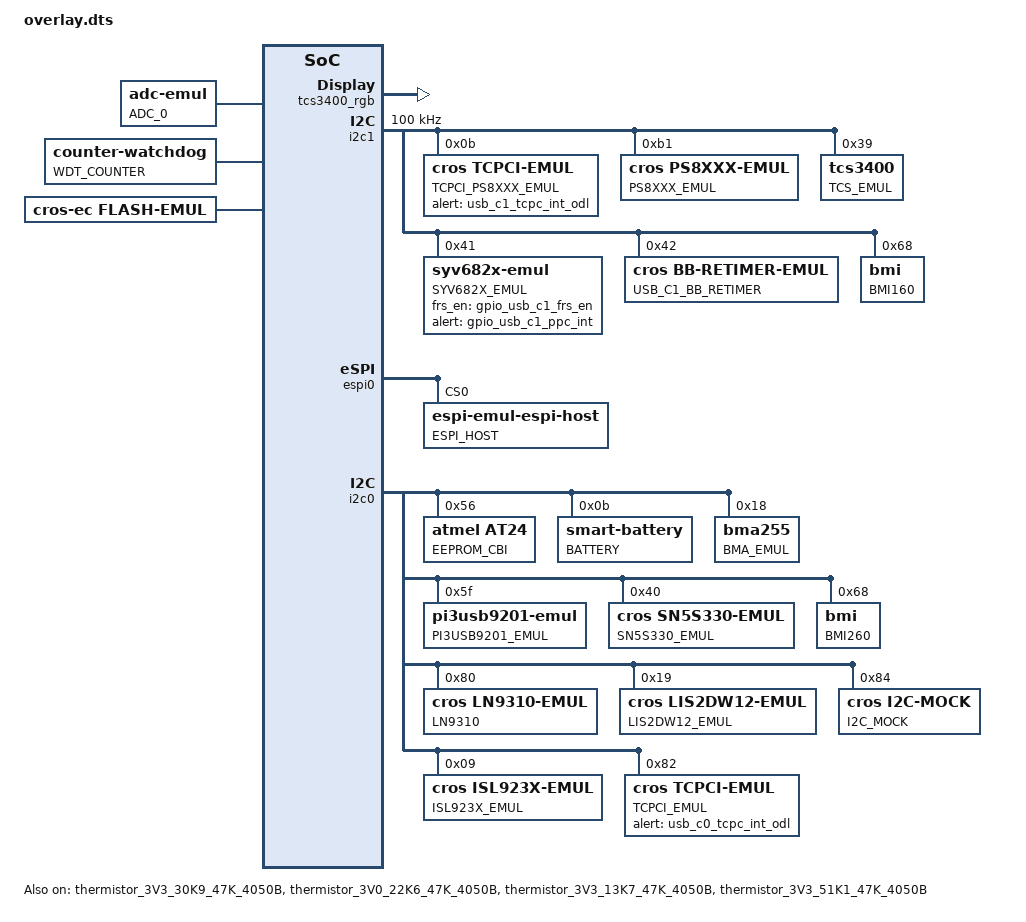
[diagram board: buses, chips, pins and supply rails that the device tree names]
/* Copyright 2021 The Chromium OS Authors. All rights reserved.
 * Use of this source code is governed by a BSD-style license that can be
 * found in the LICENSE file.
 */

#include <cros/binman.dtsi>
#include <cros/thermistor/thermistor.dtsi>
#include <dt-bindings/gpio_defines.h>
#include <freq.h>

/ {
	chosen {
		cros-ec,espi = &espi0;
		cros-ec,watchdog = &wdt_counter;
		cros-ec,raw-kb = &cros_kb_raw;
		cros-ec,flash-controller = &cros_flash;
	};

	aliases {
		bmi260-int = &ms_bmi260_accel;
		bmi160-int = &ms_bmi160_accel;
		lis2dw12-int = &ms_lis2dw12_accel;
		tcs3400-int = &tcs3400_clear;
		gpio-wp = &gpio_wp_l;
		gpio-kbd-kso2 = &gpio_ec_kso_02_inv;
	};
	/*
	 * Keep these GPIOs in pin order.
	 * If you need to add one, make sure you increase
	 * ngpios in the gpio0 node further down.
	 */
	named-gpios {
		compatible = "named-gpios";

		gpio_acok_od: acok_od {
			gpios = <&gpio0 2 GPIO_INPUT>;
			enum-name = "GPIO_AC_PRESENT";
		};
		/* In test WP is output because CBI use it, but it is also
		 * input, because test_all_tags set it to enable write
		 * protection.
		 */
		gpio_wp_l: wp_l {
			gpios = <&gpio0 3 (GPIO_INPUT | GPIO_OUTPUT |
					   GPIO_ACTIVE_LOW)>;
		};
		gpio_ec_kso_02_inv: ec_kso_02_inv {
			gpios = <&gpio0 4 (GPIO_INPUT | GPIO_OUTPUT_LOW)>;
		};
		pg_ec_dsw_pwrok {
			gpios = <&gpio0 4 GPIO_INPUT>;
			enum-name = "GPIO_TEMP_SENSOR_POWER";
		};
		gpio_ec_pch_wake_odl: ec_pch_wake_odl {
			gpios = <&gpio0 5 GPIO_OUTPUT_HIGH>;
		};
		/* Setup USB C1 pin as output to check their state in test */
		usb_c1_ls_en: usb_c1_ls_en {
			gpios = <&gpio0 6 (GPIO_INPUT_PULL_UP |
					   GPIO_OUTPUT)>;
		};
		usb_c1_rt_rst_odl: usb_c1_rt_rst_odl {
			gpios = <&gpio0 7 (GPIO_OUTPUT | GPIO_INPUT)>;
		};
		gpio_usb_c1_frs_en: usb_c1_frs_en {
			gpios = <&gpio0 8 (GPIO_OUTPUT_LOW)>;
		};
		usb_c0_tcpc_int_odl: usb_c0_tcpc_int_odl {
			gpios = <&gpio0 9 GPIO_INPUT>;
		};
		usb_c1_tcpc_int_odl: usb_c1_tcpc_int_odl {
			gpios = <&gpio0 10 GPIO_INPUT>;
		};
		usb_c0_tcpc_rst_l: usb_c0_tcpc_rst_l {
			gpios = <&gpio0 11 (GPIO_OUTPUT_HIGH | GPIO_INPUT)>;
		};
		usb_c1_tcpc_rst_l: usb_c1_tcpc_rst_l {
			gpios = <&gpio0 12 (GPIO_OUTPUT_HIGH | GPIO_INPUT)>;
		};
		gpio_usb_c1_ppc_int: usb_c1_ppc_int {
			gpios = <&gpio0 13 GPIO_INPUT>;
		};
		gpio_usb_c0_ppc_int: usb_c0_ppc_int {
			gpios = <&gpio0 14 GPIO_INPUT>;
		};
		gpio_switchcap_pg_int_l: switchcap_pg_int_l {
			gpios = <&gpio0 15 (GPIO_OUTPUT | GPIO_INPUT)>;
		};
		gpio_ap_rst_l: ap_rst_l {
			gpios = <&gpio0 16 GPIO_INPUT>;
			enum-name = "GPIO_AP_RST_L";
		};
		gpio_ps_hold: ps_hold {
			gpios = <&gpio0 17 (GPIO_INPUT | GPIO_PULL_DOWN)>;
			enum-name = "GPIO_PS_HOLD";
		};
		gpio_mb_power_good: mb_power_good {
			gpios = <&gpio0 18 (GPIO_OUTPUT | GPIO_INPUT |
				GPIO_PULL_DOWN)>;
			enum-name = "GPIO_POWER_GOOD";
		};
		gpio_ap_suspend: ap_suspend {
			gpios = <&gpio0 19 GPIO_INPUT>;
			enum-name = "GPIO_AP_SUSPEND";
		};
		gpio_pmic_kpd_pwr_odl: pmic_kpd_pwr_odl {
			gpios = <&gpio0 20 GPIO_ODR_HIGH>;
			enum-name = "GPIO_PMIC_KPD_PWR_ODL";
		};
		gpio_pmic_resin_l: pmic_resin_l {
			gpios = <&gpio0 21 GPIO_ODR_HIGH>;
			enum-name = "GPIO_PMIC_RESIN_L";
		};
		gpio_warm_reset_l: warm_reset_l {
			gpios = <&gpio0 22 GPIO_INPUT>;
			enum-name = "GPIO_WARM_RESET_L";
		};
		gpio_lid_open_ec: lid_open_ec {
			/* GPIO_PULL_UP will cause this start asserted. */
			gpios = <&gpio0 23 (GPIO_INPUT | GPIO_PULL_UP)>;
			enum-name = "GPIO_LID_OPEN";
		};
		gpio_switchcap_on: switchcap_on {
			gpios = <&gpio0 24 (GPIO_INPUT | GPIO_OUTPUT_LOW)>;
		};
		gpio_ec_pwr_btn_odl: ec_pwr_btn_odl {
			/* GPIO_PULL_UP will cause this start asserted,
			 * i.e. not pressed.
			 */
			gpios = <&gpio0 25 (GPIO_INPUT | GPIO_PULL_UP)>;
			enum-name = "GPIO_POWER_BUTTON_L";
		};
		gpio_src_vph_pwr_pg: src_vph_pwr_pg {
			gpios = <&gpio0 26 (GPIO_INPUT | GPIO_OUTPUT |
				GPIO_PULL_DOWN)>;
		};
		gpio_test: test {
			gpios = <&gpio0 27 (GPIO_INPUT | GPIO_OUTPUT)>;
		};
		ec_batt_pres_odl {
			gpios = <&gpio0 28 GPIO_INPUT>;
			enum-name = "GPIO_BATT_PRES_ODL";
		};
		gpio_no_init: no_init {
			gpios = <&gpio0 29 (GPIO_ACTIVE_LOW | GPIO_INPUT)>;
			no-auto-init;
		};
	};

	gpio-interrupts {
		compatible = "cros-ec,gpio-interrupts";

		int_ac_present: ac_present {
			irq-pin = <&gpio_acok_od>;
			flags = <GPIO_INT_EDGE_BOTH>;
			handler = "extpower_interrupt";
		};
		int_usb_c0: usb_c0 {
			irq-pin = <&usb_c0_tcpc_int_odl>;
			flags = <GPIO_INT_EDGE_FALLING>;
			handler = "tcpc_alert_event";
		};
		int_usb_c1: usb_c1 {
			irq-pin = <&usb_c1_tcpc_int_odl>;
			flags = <GPIO_INT_EDGE_FALLING>;
			handler = "tcpc_alert_event";
		};
		int_usb_c0_ppc: usb_c0_ppc {
			irq-pin = <&gpio_usb_c0_ppc_int>;
			flags = <GPIO_INT_EDGE_FALLING>;
			handler = "ppc_alert";
		};
		int_usb_c1_ppc: usb_c1_ppc {
			irq-pin = <&gpio_usb_c1_ppc_int>;
			flags = <GPIO_INT_EDGE_FALLING>;
			handler = "ppc_alert";
		};
		int_switchcap_pg: switchcap_pg {
			irq-pin = <&gpio_switchcap_pg_int_l>;
			flags = <GPIO_INT_EDGE_FALLING>;
			handler = "ln9310_interrupt";
		};
		int_gpio_test: test {
			irq-pin = <&gpio_test>;
			flags = <GPIO_INT_EDGE_BOTH>;
			handler = "gpio_test_interrupt";
		};
		int_lid_open_ec: lid_open_ec {
			irq-pin = <&gpio_lid_open_ec>;
			flags = <GPIO_INT_EDGE_BOTH>;
			handler = "lid_interrupt";
		};
		int_mb_power_good: mb_power_good {
			irq-pin = <&gpio_mb_power_good>;
			flags = <GPIO_INT_EDGE_BOTH>;
			handler = "power_signal_interrupt";
		};
	};

	named-i2c-ports {
		compatible = "named-i2c-ports";

		usb-c0 {
			i2c-port = <&i2c0>;
			enum-name = "I2C_PORT_USB_C0";
		};
		usb-c1 {
			i2c-port = <&i2c1>;
			enum-name = "I2C_PORT_USB_C1";
		};
		battery {
			i2c-port = <&i2c0>;
			enum-name = "I2C_PORT_BATTERY";
		};
		power {
			i2c-port = <&i2c0>;
			enum-name = "I2C_PORT_POWER";
		};
		charger {
			i2c-port = <&i2c0>;
			enum-name = "I2C_PORT_CHARGER";
		};
		eeprom {
			i2c-port = <&i2c0>;
			enum-name = "I2C_PORT_EEPROM";
		};
		i2c_accel: accel {
			i2c-port = <&i2c0>;
			enum-name = "I2C_PORT_ACCEL";
		};
		i2c_sensor: sensor {
			i2c-port = <&i2c1>;
			enum-name = "I2C_PORT_SENSOR";
		};
		virtual-battery {
			i2c-port = <&i2c0>;
			enum-name = "I2C_PORT_VIRTUAL_BATTERY";
		};
	};

	named-batteries {
		compatible = "named-batteries";

		lgc011 {
			enum-name = "lgc011";
		};
	};

	cbi-ssfc {
		compatible = "named-cbi-ssfc";
		cbi_ssfc_base_sensor: base_sensor {
			enum-name = "BASE_SENSOR";
			size = <2>;
			base_sensor_0: base0 {
				compatible = "named-cbi-ssfc-value";
				status = "okay";
				value = <1>;
				default;
			};
			base_sensor_1: base1 {
				compatible = "named-cbi-ssfc-value";
				status = "okay";
				value = <2>;
			};
		};
	};

	cbi-fw-config {
		compatible = "cros-ec,cbi-fw-config";
		field-1 {
			enum-name = "FW_CONFIG_FIELD_1";
			start = <0>;
			size = <2>;
			val-0 {
				compatible = "cros-ec,cbi-fw-config-value";
				enum-name = "FW_FIELD_1_A";
				value = <0>;
			};
			val-1 {
				compatible = "cros-ec,cbi-fw-config-value";
				enum-name = "FW_FIELD_1_B";
				value = <1>;
				default;
			};
		};
		field-2 {
			enum-name = "FW_CONFIG_FIELD_2";
			start = <5>;
			size = <1>;
			val-1 {
				compatible = "cros-ec,cbi-fw-config-value";
				enum-name = "FW_FIELD_2_X";
				value = <1>;
			};
		};
	};

	adc0: adc {
		compatible = "zephyr,adc-emul";
		nchannels = <4>;
		ref-internal-mv = <3300>;
		#io-channel-cells = <1>;
		label = "ADC_0";
		status = "okay";
	};

	named-adc-channels {
		compatible = "named-adc-channels";

		adc_charger: charger {
			label = "ADC_TEMP_SENSOR_CHARGER";
			enum-name = "ADC_TEMP_SENSOR_CHARGER";
			io-channels = <&adc0 0>;
		};
		adc_pp3300_regulator: pp3300-regulator {
			label = "ADC_TEMP_SENSOR_PP3300_REGULATOR";
			enum-name = "ADC_TEMP_SENSOR_PP3300_REGULATOR";
			io-channels = <&adc0 1>;
		};
		adc_ddr_soc: ddr-soc {
			label = "ADC_TEMP_SENSOR_DDR_SOC";
			enum-name = "ADC_TEMP_SENSOR_DDR_SOC";
			io-channels = <&adc0 2>;
		};
		adc_fan: fan {
			label = "ADC_TEMP_SENSOR_FAN";
			enum-name = "ADC_TEMP_SENSOR_FAN";
			io-channels = <&adc0 3>;
		};
	};

	named-temp-sensors {
		charger {
			thermistor = <&thermistor_3V3_13K7_47K_4050B>;
			status = "okay";
			compatible = "cros-ec,temp-sensor-thermistor";
			label = "TEMP_SENSOR_CHARGER";
			enum-name = "TEMP_SENSOR_CHARGER";
			temp_fan_off = <40>;
			temp_fan_max = <55>;
			temp_host_high = <75>;
			temp_host_halt = <80>;
			temp_host_release_high = <65>;
			adc = <&adc_charger>;
		};
		pp3300-regulator {
			thermistor = <&thermistor_3V3_30K9_47K_4050B>;
			status = "okay";
			compatible = "cros-ec,temp-sensor-thermistor";
			label = "TEMP_SENSOR_PP3300_REGULATOR";
			enum-name = "TEMP_SENSOR_PP3300_REGULATOR";
			temp_fan_off = <40>;
			temp_fan_max = <55>;
			temp_host_high = <75>;
			temp_host_halt = <80>;
			temp_host_release_high = <65>;
			adc = <&adc_pp3300_regulator>;
		};
		ddr-soc {
			thermistor = <&thermistor_3V3_51K1_47K_4050B>;
			status = "okay";
			compatible = "cros-ec,temp-sensor-thermistor";
			label = "TEMP_SENSOR_DDR_SOC";
			enum-name = "TEMP_SENSOR_DDR_SOC";
			temp_fan_off = <35>;
			temp_fan_max = <50>;
			temp_host_high = <70>;
			temp_host_halt = <80>;
			temp_host_release_high = <65>;
			adc = <&adc_ddr_soc>;
		};
		fan {
			thermistor = <&thermistor_3V0_22K6_47K_4050B>;
			status = "okay";
			compatible = "cros-ec,temp-sensor-thermistor";
			label = "TEMP_SENSOR_FAN";
			enum-name = "TEMP_SENSOR_FAN";
			temp_fan_off = <35>;
			temp_fan_max = <50>;
			temp_host_high = <70>;
			temp_host_halt = <80>;
			temp_host_release_high = <65>;
			adc = <&adc_fan>;
		};
	};

	/*
	 * Declare mutexes used by sensor drivers.
	 * A mutex node is used to create an instance of mutex_t.
	 * A mutex node is referenced by a sensor node if the
	 * corresponding sensor driver needs to use the
	 * instance of the mutex.
	 */
	motionsense-mutex {
		compatible = "cros-ec,motionsense-mutex";
		mutex_bmi260: bmi260-mutex {
			label = "BMI260_MUTEX";
		};

		mutex_bmi160: bmi160-mutex {
			label = "BMI160_MUTEX";
		};

		mutex_lis2dw12: lis2dw12-mutex {
			label = "LIS2DW12_MUTEX";
		};
	};

	/*
	 * Driver specific data. A driver-specific data can be shared with
	 * different motion sensors while they are using the same driver.
	 */
	motionsense-sensor-data {
		bmi260_data: bmi260-drv-data {
			compatible = "cros-ec,drvdata-bmi260";
			status = "okay";
		};

		bmi160_data: bmi160-drv-data {
			compatible = "cros-ec,drvdata-bmi160";
			status = "okay";
		};

		lis2dw12_data: lis2dw12-drv-data {
			compatible = "cros-ec,drvdata-lis2dw12";
			status = "okay";
		};

		tcs_clear_data: tcs3400-clear-drv-data {
			compatible = "cros-ec,drvdata-tcs3400-clear";
			status = "okay";

			als-drv-data {
				compatible = "cros-ec,accelgyro-als-drv-data";
				als-cal {
					scale = <1>;
					uscale = <0>;
					offset = <0>;
					als-channel-scale {
					compatible =
					"cros-ec,accelgyro-als-channel-scale";
						k-channel-scale = <1>;
						cover-scale = <1>;
					};
				};
			};
		};

		tcs_rgb_data: tcs3400-rgb-drv-data {
			compatible = "cros-ec,drvdata-tcs3400-rgb";
			status = "okay";

			/* node for rgb_calibration_t defined in accelgyro.h */
			rgb_calibration {
				compatible =
					"cros-ec,accelgyro-rgb-calibration";

				irt = <1>;

				rgb-cal-x {
					offset = <0>;
					coeff = <0 1 0 0>;
					als-channel-scale {
					compatible =
					"cros-ec,accelgyro-als-channel-scale";
						k-channel-scale = <1>;
						cover-scale = <1>;
					};
				};
				rgb-cal-y {
					offset = <0>;
					coeff = <0 0 1 0>;
					als-channel-scale {
					compatible =
					"cros-ec,accelgyro-als-channel-scale";
						k-channel-scale = <1>;
						cover-scale = <1>;
					};
				};
				rgb-cal-z {
					offset = <0>;
					coeff = <0 0 0 1>;
					als-channel-scale {
					compatible =
					"cros-ec,accelgyro-als-channel-scale";
						k-channel-scale = <1>;
						cover-scale = <1>;
					};
				};
			};
		};
	};

	/*
	 * List of motion sensors that creates motion_sensors array.
	 * The label "lid_accel" and "base_accel" are used to indicate
	 * motion sensor IDs for lid angle calculation.
	 */
	motionsense-sensor {
		ms_bmi260_accel: ms-bmi260-accel {
			compatible = "cros-ec,bmi260-accel";
			status = "okay";

			label = "BMI260 emul accel";
			location = "MOTIONSENSE_LOC_BASE";
			mutex = <&mutex_bmi260>;
			port = <&i2c_accel>;
			drv-data = <&bmi260_data>;
			default-range = <4>;
			i2c-spi-addr-flags = "BMI260_ADDR0_FLAGS";
		};

		ms_bmi260_gyro: ms-bmi260-gyro {
			compatible = "cros-ec,bmi260-gyro";
			status = "okay";

			label = "BMI260 emul gyro";
			location = "MOTIONSENSE_LOC_BASE";
			mutex = <&mutex_bmi260>;
			port = <&i2c_accel>;
			drv-data = <&bmi260_data>;
			default-range = <1000>; /* dps */
			i2c-spi-addr-flags = "BMI260_ADDR0_FLAGS";
		};

		ms_bmi160_accel: ms-bmi160-accel {
			compatible = "cros-ec,bmi160-accel";
			status = "okay";

			label = "BMI160 emul accel";
			location = "MOTIONSENSE_LOC_BASE";
			mutex = <&mutex_bmi160>;
			port = <&i2c_sensor>;
			drv-data = <&bmi160_data>;
			default-range = <4>;
			i2c-spi-addr-flags = "BMI160_ADDR0_FLAGS";
		};

		ms_bmi160_gyro: ms-bmi160-gyro {
			compatible = "cros-ec,bmi160-gyro";
			status = "okay";

			label = "BMI160 emul gyro";
			location = "MOTIONSENSE_LOC_BASE";
			mutex = <&mutex_bmi160>;
			port = <&i2c_sensor>;
			drv-data = <&bmi160_data>;
			default-range = <1000>; /* dps */
			i2c-spi-addr-flags = "BMI160_ADDR0_FLAGS";
		};

		ms_lis2dw12_accel: ms-lis2dw12-accel {
			compatible = "cros-ec,lis2dw12";
			status = "okay";

			label = "LIS2DW12";
			location = "MOTIONSENSE_LOC_BASE";
			mutex = <&mutex_lis2dw12>;
			port = <&i2c_accel>;
			drv-data = <&lis2dw12_data>;
			default-range = <2>;
			i2c-spi-addr-flags = "LIS2DWL_ADDR1_FLAGS";
		};

		tcs3400_clear: tcs3400-clear {
			compatible = "cros-ec,tcs3400-clear";
			status = "okay";

			label = "Clear Light";
			location = "MOTIONSENSE_LOC_BASE";
			port = <&i2c_sensor>;
			default-range = <0x10000>;
			drv-data = <&tcs_clear_data>;
			i2c-spi-addr-flags = "TCS3400_I2C_ADDR_FLAGS";
			configs {
				compatible =
					"cros-ec,motionsense-sensor-config";
				ec-s0 {
					/* Run ALS sensor in S0 */
					label = "SENSOR_CONFIG_EC_S0";
					odr = <1000>;
				};
			};
		};

		tcs3400_rgb: tcs3400-rgb {
			compatible = "cros-ec,tcs3400-rgb";
			status = "okay";

			label = "RGB Light";
			location = "MOTIONSENSE_LOC_BASE";
			default-range = <0x10000>; /* scale = 1x, uscale = 0 */
			drv-data = <&tcs_rgb_data>;
		};
	};

	/*
	 * Second i2c bus is required, because there are already devices with
	 * addresses 0x68, 0xb and 0x9 on the first bus
	 */
	i2c1: i2c@400 {
		status = "okay";
		compatible = "zephyr,i2c-emul-controller";
		clock-frequency = <I2C_BITRATE_STANDARD>;
		#address-cells = <1>;
		#size-cells = <0>;
		reg = <0x400 4>;
		label = "I2C_1";

		tcpci_ps8xxx_emul: tcpci_ps8xxx_emul@b {
			compatible = "cros,tcpci-emul";
			status = "okay";
			reg = <0xb>;
			label = "TCPCI_PS8XXX_EMUL";
			alert_gpio = <&usb_c1_tcpc_int_odl>;
		};

		ps8xxx_emul: ps8xxx_emul@b1 {
			compatible = "cros,ps8xxx-emul";
			reg = <0xb1>;
			tcpci-i2c = <&tcpci_ps8xxx_emul>;
			p0-i2c-addr = <0x8>;
			p1-i2c-addr = <0x9>;
			gpio-i2c-addr = <0x1a>;
			label = "PS8XXX_EMUL";
		};

		tcs_emul: tcs@39 {
			compatible = "zephyr,tcs3400";
			reg = <0x39>;
			label = "TCS_EMUL";
			error-on-ro-write;
			error-on-reserved-bit-write;
			error-on-msb-first-access;
		};

		syv682x_emul: syv682x@41 {
			compatible = "zephyr,syv682x-emul";
			reg = <0x41>;
			label = "SYV682X_EMUL";
			frs_en_gpio = <&gpio_usb_c1_frs_en>;
			alert_gpio = <&gpio_usb_c1_ppc_int>;
		};

		usb_c1_bb_retimer_emul: bbretimer@42 {
			compatible = "cros,bb-retimer-emul";
			reg = <0x42>;
			label = "USB_C1_BB_RETIMER";
			vendor = "BB_RETIMER_VENDOR_ID_1";
			error-on-ro-write;
			error-on-reserved-bit-write;
		};

		accel_bmi160: bmi160@68 {
			compatible = "zephyr,bmi";
			reg = <0x68>;
			label = "BMI160";
			device-model = "BMI_EMUL_160";
			error-on-ro-write;
			error-on-wo-read;
			error-on-reserved-bit-write;
			simulate-command-exec-time;
		};
	};

	clock: clock {
		compatible = "cros,clock-control-emul";
		clock-frequency = <DT_FREQ_M(100)>; /* 100 MHz */
	};

	wdt_counter: wdt-counter {
		compatible = "zephyr,counter-watchdog";
		status = "okay";
		counter = <&counter0>;
		label = "WDT_COUNTER";
	};

	cros_kb_raw: kb-raw-emul {
		compatible = "cros-ec,kb-raw-emul";
		label = "KB_RAW";
	};

	cros_flash: cros-flash {
		compatible = "cros-ec,flash-emul";
		label = "FLASH";
	};
};

&espi0 {
	espi-host@0 {
		status = "okay";
		compatible = "zephyr,espi-emul-espi-host";
		reg = <0x0>;
		label = "ESPI_HOST";
	};
};

&gpio0 {
	ngpios = <30>;
};

&i2c0 {
	cbi_eeprom: eeprom@56 {
		compatible = "atmel,at24";
		reg = <0x56>;
		label = "EEPROM_CBI";
		size = <512>;
		pagesize = <8>;
		address-width = <8>;
		timeout = <5>;
	};

	battery: sb@b {
		compatible = "zephyr,smart-battery";
		reg = <0xb>;
		label = "BATTERY";
		cycle-count = <99>;
		version = "BATTERY_SPEC_VER_1_1_WITH_PEC";
		/* Real battery voltages are multiples of 4.4V. */
		desired-charg-volt = <5000>;
		desired-charg-cur = <1000>;
	};

	bma_emul: bma@18 {
		compatible = "zephyr,bma255";
		reg = <0x18>;
		label = "BMA_EMUL";
		error-on-compensation-not-ready;
		error-on-ro-write;
		error-on-reserved-bit-write;
		error-on-msb-first-access;
	};

	pi3usb9201_emul: pi3usb9201@5f {
		compatible = "zephyr,pi3usb9201-emul";
		reg = <0x5f>;
		label = "PI3USB9201_EMUL";
	};

	sn5s330_emul: sn5s330@40 {
		compatible = "cros,sn5s330-emul";
		reg = <0x40>;
		label = "SN5S330_EMUL";
		int-pin = <&gpio_usb_c0_ppc_int>;
	};

	accel_bmi260: bmi260@68 {
		compatible = "zephyr,bmi";
		reg = <0x68>;
		label = "BMI260";
		device-model = "BMI_EMUL_260";
		error-on-ro-write;
		error-on-wo-read;
		error-on-reserved-bit-write;
		simulate-command-exec-time;
	};

	ln9310: ln9310@80 {
		compatible = "cros,ln9310-emul";
		status = "okay";
		reg = <0x80>;
		label = "LN9310";
		pg-int-pin = <&gpio_switchcap_pg_int_l>;
	};

	lis2dw12_emul: lis2dw12@19 {
		compatible = "cros,lis2dw12-emul";
		status = "okay";
		reg = <0x19>;
		label = "LIS2DW12_EMUL";
	};

	i2c_mock: i2c_mock@84 {
		compatible = "cros,i2c-mock";
		status = "okay";
		reg = <0x84>;
		label = "I2C_MOCK";
	};

	isl923x_emul: isl923x@9 {
		compatible = "cros,isl923x-emul";
		status = "okay";
		reg = <0x9>;
		label = "ISL923X_EMUL";
		battery = <&battery>;
	};

	tcpci_emul: tcpci_emul@82 {
		compatible = "cros,tcpci-emul";
		status = "okay";
		reg = <0x82>;
		label = "TCPCI_EMUL";
		alert_gpio = <&usb_c0_tcpc_int_odl>;
	};
};

/* Enable all thermistors for testing */
&thermistor_3V3_30K9_47K_4050B  {
	status = "okay";
};

&thermistor_3V0_22K6_47K_4050B  {
	status = "okay";
};

&thermistor_3V3_13K7_47K_4050B  {
	status = "okay";
};

&thermistor_3V3_51K1_47K_4050B  {
	status = "okay";
};
